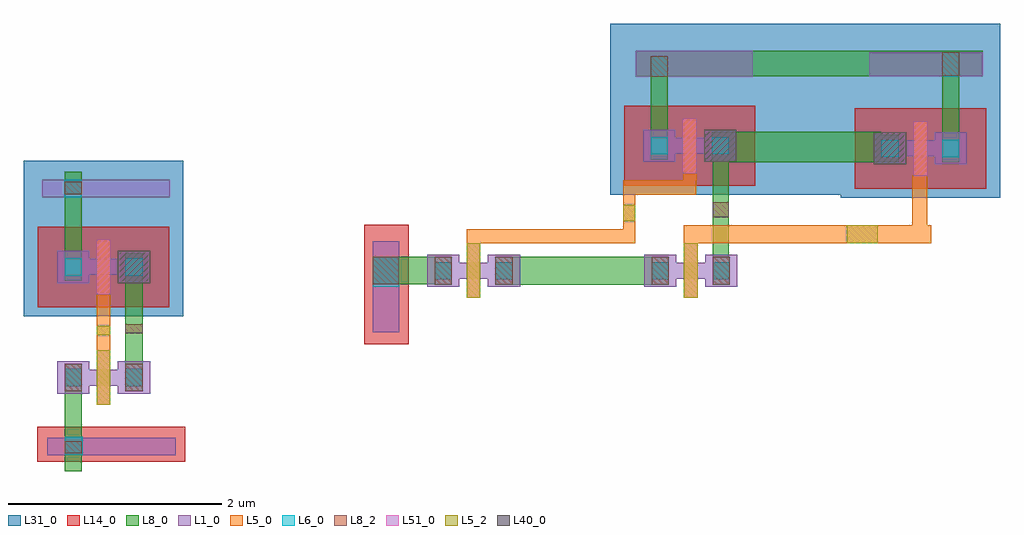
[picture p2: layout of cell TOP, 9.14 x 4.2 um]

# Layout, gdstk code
from math import pi, radians
import gdstk
lib = gdstk.Library(unit=1e-6, precision=5e-09)
def R(c, l, rs):  # rectangles x0, y0, x1, y1
    for r in rs: c.add(gdstk.rectangle(r[:2], r[2:], *l))
L1_0 = (1, 0)
L5_0 = (5, 0)
L5_2 = (5, 2)
L6_0 = (6, 0)
L8_0 = (8, 0)
L8_2 = (8, 2)
L14_0 = (14, 0)
L31_0 = (31, 0)
L40_0 = (40, 0)
L51_0 = (51, 0)

pmos = lib.new_cell('pmos')
R(pmos, L1_0, [(0,0,0.3,0.3), (0.57,0,0.87,0.3), (0,0.075,0.87,0.225)])
R(pmos, L5_0, [(0.37,-0.105,0.5,0.405), (0.37,-0.105,0.5,0.405)])
R(pmos, L6_0, [(0.07,0.07,0.23,0.23), (0.64,0.07,0.8,0.23)])
R(pmos, L8_0, [(0.07,0.02,0.23,0.28), (0.07,0.02,0.23,0.28), (0.64,0.02,0.8,0.28), (0.64,0.02,0.8,0.28)])
R(pmos, L14_0, [(-0.18,-0.225,1.05,0.525)])
R(pmos, L31_0, [(-0.31,-0.31,1.18,0.61)])
R(pmos, L40_0, [(0.57,0,0.87,0.3)])
R(pmos, L51_0, [(0.37,-0.105,0.5,0.405)])
pmos.add(gdstk.Label('pmos', (0.435,0.15), layer=63, texttype=0))
pmos.add(gdstk.Label('pmos', (0.435,0.15), layer=51, texttype=0))

nmos = lib.new_cell('nmos')
R(nmos, L1_0, [(0,0,0.3,0.3), (0.57,0,0.87,0.3), (0,0.075,0.87,0.225)])
R(nmos, L5_0, [(0.37,-0.105,0.5,0.405)])
R(nmos, L5_2, [(0.37,-0.105,0.5,0.405)])
R(nmos, L6_0, [(0.07,0.07,0.23,0.23), (0.64,0.07,0.8,0.23)])
R(nmos, L8_0, [(0.07,0.02,0.23,0.28), (0.64,0.02,0.8,0.28)])
R(nmos, L8_2, [(0.07,0.02,0.23,0.28), (0.64,0.02,0.8,0.28)])
R(nmos, L51_0, [(0.37,-0.105,0.5,0.405)])
nmos.add(gdstk.Label('nmos', (0.435,0.15), layer=63, texttype=0))
nmos.add(gdstk.Label('nmos', (0.435,0.15), layer=51, texttype=0))

inv_bel = lib.new_cell('inv_bel')
R(inv_bel, L1_0, [(0.22,0.15,1.42,0.315), (0.17,2.57,1.365,2.73)])
R(inv_bel, L5_0, [(0.68,1.135,0.81,1.66)])
R(inv_bel, L5_2, [(0.68,1.275,0.81,1.365)])
R(inv_bel, L6_0, [(0.38,0.15,0.55,0.325), (0.375,2.57,0.54,2.73)])
R(inv_bel, L8_0, [(0.38,0,0.54,0.75), (0.95,1.01,1.11,1.785), (0.38,2.045,0.54,2.805)])
R(inv_bel, L8_2, [(0.38,0.17,0.54,0.285), (0.95,1.295,1.11,1.38), (0.38,2.595,0.54,2.715)])
R(inv_bel, L14_0, [(0.125,0.09,1.51,0.42)])
R(inv_bel, L31_0, [(0,2.375,1.49,2.91)])
inv_bel.add(gdstk.Reference(pmos, (0.31,1.765)))
inv_bel.add(gdstk.Reference(nmos, (0.31,0.73)))
inv_bel.add(gdstk.Label('Vout', (1,1.315), layer=8, texttype=2))
inv_bel.add(gdstk.Label('vss', (0.435,0.205), layer=8, texttype=2))
inv_bel.add(gdstk.Label('vcc', (0.435,2.64), layer=8, texttype=2))
inv_bel.add(gdstk.Label('VIN', (0.71,1.3), layer=5, texttype=2))

nmos_1 = lib.new_cell('nmos$1')
R(nmos_1, L1_0, [(0,0,0.3,0.3), (0.57,0,0.87,0.3), (0,0.075,0.87,0.225)])
R(nmos_1, L5_0, [(0.37,-0.105,0.5,0.405)])
R(nmos_1, L5_2, [(0.37,-0.105,0.5,0.405)])
R(nmos_1, L6_0, [(0.07,0.07,0.23,0.23), (0.64,0.07,0.8,0.23)])
R(nmos_1, L8_0, [(0.07,0.02,0.23,0.28), (0.64,0.02,0.8,0.28)])
R(nmos_1, L8_2, [(0.07,0.02,0.23,0.28), (0.64,0.02,0.8,0.28)])
R(nmos_1, L51_0, [(0.37,-0.105,0.5,0.405)])
nmos_1.add(gdstk.Label('nmos', (0.435,0.15), layer=63, texttype=0))
nmos_1.add(gdstk.Label('nmos', (0.435,0.15), layer=51, texttype=0))

pmos_1 = lib.new_cell('pmos$1')
R(pmos_1, L1_0, [(0,0,0.3,0.3), (0.57,0,0.87,0.3), (0,0.075,0.87,0.225)])
R(pmos_1, L5_0, [(0.37,-0.105,0.5,0.405), (0.37,-0.105,0.5,0.405)])
R(pmos_1, L6_0, [(0.07,0.07,0.23,0.23), (0.64,0.07,0.8,0.23)])
R(pmos_1, L8_0, [(0.07,0.02,0.23,0.28), (0.07,0.02,0.23,0.28), (0.64,0.02,0.8,0.28), (0.64,0.02,0.8,0.28)])
R(pmos_1, L14_0, [(-0.18,-0.225,1.05,0.525)])
R(pmos_1, L31_0, [(-0.31,-0.31,1.18,0.61)])
R(pmos_1, L40_0, [(0.57,0,0.87,0.3)])
R(pmos_1, L51_0, [(0.37,-0.105,0.5,0.405)])
pmos_1.add(gdstk.Label('pmos', (0.435,0.15), layer=63, texttype=0))
pmos_1.add(gdstk.Label('pmos', (0.435,0.15), layer=51, texttype=0))

and_ = lib.new_cell('AND')
R(and_, L1_0, [(0.795,-0.77,1.045,0.08), (3.26,1.62,4.355,1.865), (5.445,1.625,6.51,1.85)])
R(and_, L5_0, [(1.675,0.06,3.255,0.195), (3.71,0.06,6.025,0.23), (3.14,0.195,3.255,0.65), (5.85,0.23,5.99,0.695), (3.255,0.515,3.825,0.65), (3.705,0.65,3.83,0.72)])
R(and_, L5_2, [(5.235,0.06,5.525,0.23), (3.14,0.27,3.255,0.425)])
R(and_, L6_0, [(0.795,-0.345,1.045,-0.065), (3.4,1.62,3.56,1.815), (6.13,1.625,6.29,1.85)])
R(and_, L8_0, [(2.105,-0.325,3.41,-0.065), (0.795,-0.32,1.375,-0.065), (3.98,-0.065,4.13,0.845), (4.13,0.82,5.56,1.105), (3.4,1.055,3.56,1.815), (6.13,1.08,6.29,1.85), (3.26,1.625,6.51,1.865)])
R(and_, L8_2, [(0.795,-0.32,1.04,-0.065), (3.98,0.305,4.13,0.445), (3.4,1.62,3.56,1.815), (6.13,1.63,6.29,1.85)])
R(and_, L14_0, [(0.715,-0.885,1.135,0.235)])
R(and_, L31_0, [(3.02,0.515,6.67,2.12), (5.18,1.41,6.67,2.12), (3.02,1.435,4.51,2.01)])
and_.add(gdstk.Reference(nmos_1, (3.34,-0.345)))
and_.add(gdstk.Reference(nmos_1, (1.305,-0.345)))
and_.add(gdstk.Reference(pmos_1, (3.33,0.825)))
and_.add(gdstk.Reference(pmos_1, (6.36,1.1), rotation=pi))
and_.add(gdstk.Label('vout', (3.99,0.375), layer=8, texttype=2))
and_.add(gdstk.Label('vss', (0.89,-0.22), layer=8, texttype=2))
and_.add(gdstk.Label('vdd', (3.435,1.67), layer=8, texttype=2))
and_.add(gdstk.Label('vdd', (6.2,1.705), layer=8, texttype=2))
and_.add(gdstk.Label('A', (3.18,0.345), layer=5, texttype=2))
and_.add(gdstk.Label('B', (5.33,0.105), layer=5, texttype=2))

top = lib.new_cell('TOP')
top.add(gdstk.Reference(inv_bel, (4.94,0.125)))
top.add(gdstk.Reference(and_, (7.41,2.2)))

lib.write_gds('TOP.gds')
